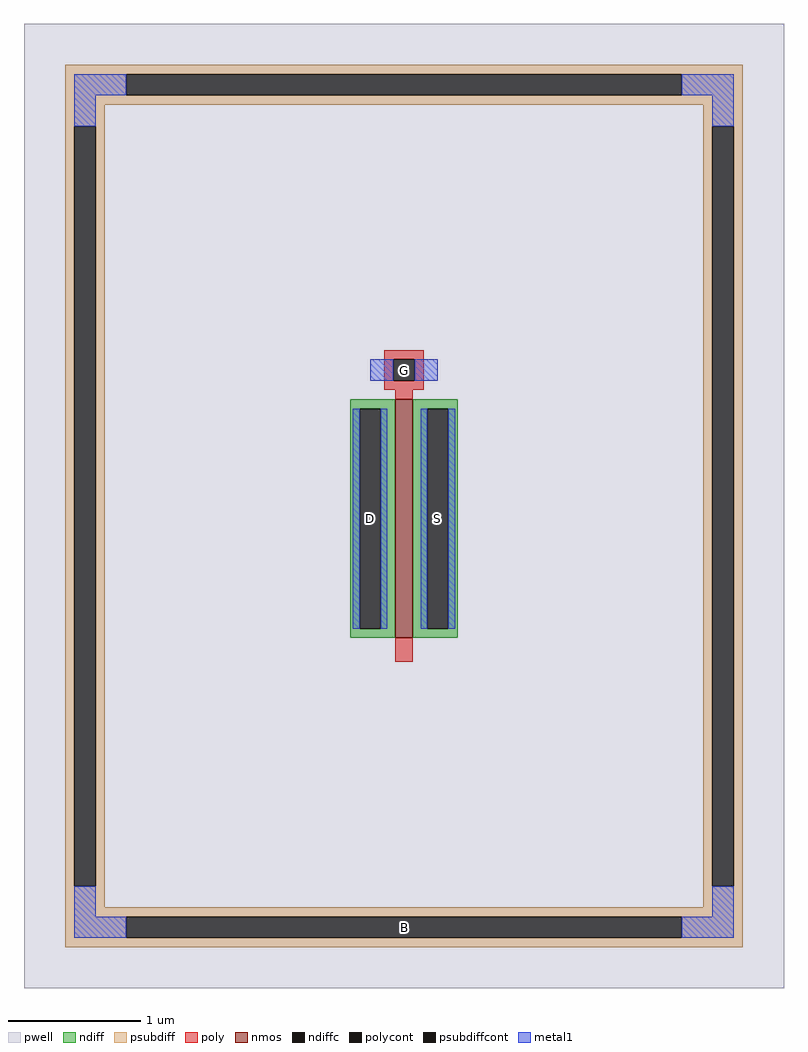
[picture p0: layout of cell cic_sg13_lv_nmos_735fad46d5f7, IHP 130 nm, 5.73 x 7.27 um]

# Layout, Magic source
magic
tech ihp-sg13cmos5l
magscale 1 2
<< pwell >>
rect -573 -727 573 727
<< nmos >>
rect -13 -199 13 161
<< ndiff >>
rect -81 147 -13 161
rect -81 -185 -67 147
rect -35 -185 -13 147
rect -81 -199 -13 -185
rect 13 147 81 161
rect 13 -185 35 147
rect 67 -185 81 147
rect 13 -199 81 -185
<< ndiffc >>
rect -67 -185 -35 147
rect 35 -185 67 147
<< psubdiff >>
rect -511 651 511 665
rect -511 619 -419 651
rect 419 619 511 651
rect -511 605 511 619
rect -511 573 -451 605
rect -511 -573 -497 573
rect -465 -573 -451 573
rect 451 573 511 605
rect -511 -605 -451 -573
rect 451 -573 465 573
rect 497 -573 511 573
rect 451 -605 511 -573
rect -511 -619 511 -605
rect -511 -651 -419 -619
rect 419 -651 511 -619
rect -511 -665 511 -651
<< psubdiffcont >>
rect -419 619 419 651
rect -497 -573 -465 573
rect 465 -573 497 573
rect -419 -651 419 -619
<< poly >>
rect -30 221 30 235
rect -30 189 -16 221
rect 16 189 30 221
rect -30 175 30 189
rect -13 161 13 175
rect -13 -235 13 -199
<< polycont >>
rect -16 189 16 221
<< metal1 >>
rect -497 619 -419 651
rect 419 619 497 651
rect -497 573 -465 619
rect 465 573 497 619
rect -51 189 -16 221
rect 16 189 51 221
rect -77 -185 -67 147
rect -35 -185 -25 147
rect 25 -185 35 147
rect 67 -185 77 147
rect -497 -619 -465 -573
rect 465 -619 497 -573
rect -497 -651 -419 -619
rect 419 -651 497 -619
<< labels >>
rlabel psubdiffcont 0 -635 0 -635 0 B
port 1 nsew
rlabel ndiffc -51 -19 -51 -19 0 D
port 2 nsew
rlabel ndiffc 51 -19 51 -19 0 S
port 3 nsew
rlabel polycont 0 205 0 205 0 G
port 4 nsew
<< properties >>
string FIXED_BBOX -481 -635 481 635
string gencell sg13_lv_nmos
string library sg13cmos5l
string parameters w 1.8 l 0.13 m 1 ng 1 diffcov 100 polycov 100 guard 1 glc 1 grc 1 gtc 1 gbc 1 tbcov 100 rlcov 100 topc 1 botc 0 poverlap 0 doverlap 1 lmin 0.13 wmin 0.15 class mosfet compatible {sg13_lv_nmos sg13_hv_nmos} full_metal 1 conn_gates 1 gate_ring 0 doports 1 viasrc 0 viadrn 0 viagate 0 ccols 1 viagb 0 viagr 0 viagl 0 viagt 0 set_x_to_guard 2.0 set_y_to_guard 2.0
<< end >>
